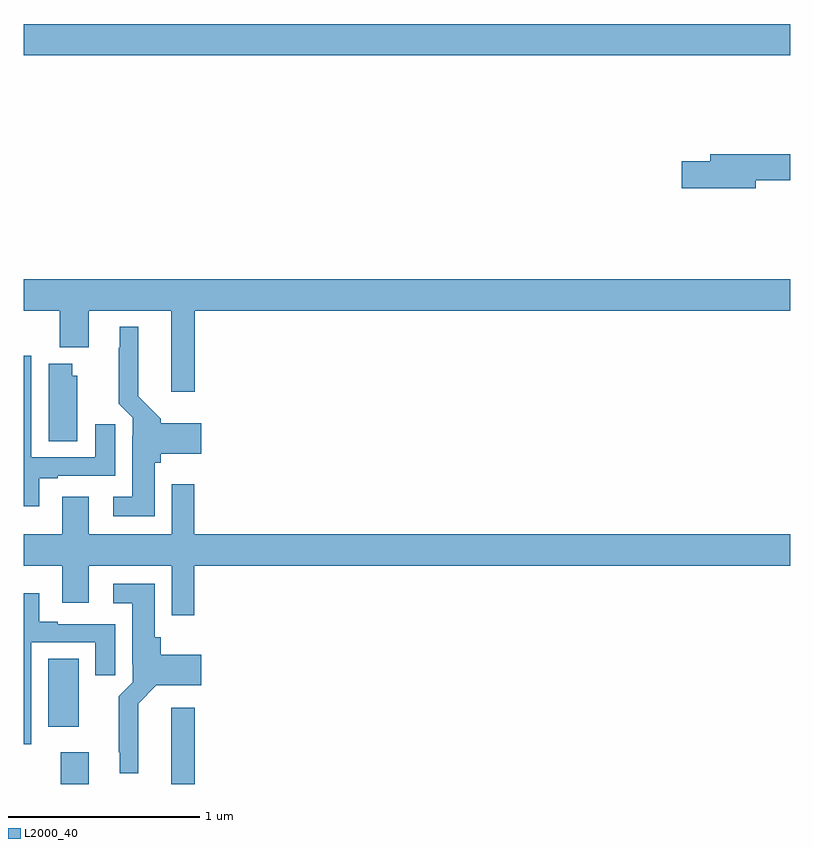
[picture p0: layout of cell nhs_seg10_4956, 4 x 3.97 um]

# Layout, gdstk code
import gdstk
lib = gdstk.Library(unit=1e-6, precision=1e-09)
def R(c, l, rs):  # rectangles x0, y0, x1, y1
    for r in rs: c.add(gdstk.rectangle(r[:2], r[2:], *l))
def P(c, l, *ps):  # polygons
    for p in ps: c.add(gdstk.Polygon(p, *l))
L2000_40 = (2000, 40)

nhs_seg10_4956 = lib.new_cell('nhs_seg10_4956')
R(nhs_seg10_4956, L2000_40, [(397.192,1308.5,397.339,1308.667), (397.769,1308.5,397.892,1308.898), (397.127,1308.798,397.285,1309.154), (397,1312.304,401,1312.468)])
P(nhs_seg10_4956, L2000_40, [(400.822,1311.652),(401,1311.652),(401,1311.788),(400.583,1311.788),(400.583,1311.752),(400.434,1311.752),(400.434,1311.61),(400.822,1311.61)],
  [(397.892,1310.972),(401,1310.972),(401,1311.136),(397,1311.136),(397,1310.972),(397.187,1310.972),(397.187,1310.78),(397.339,1310.78),(397.339,1310.972),(397.769,1310.972),(397.769,1310.547),(397.892,1310.547)],
  [(397.684,1310.178),(397.715,1310.178),(397.715,1310.225),(397.927,1310.225),(397.927,1310.383),(397.715,1310.383),(397.715,1310.406),(397.597,1310.524),(397.597,1310.887),(397.499,1310.887),(397.499,1310.777),(397.495,1310.777),(397.495,1310.486),(397.569,1310.412),(397.569,1310.318),(397.565,1310.318),(397.565,1309.999),(397.467,1309.999),(397.467,1309.898),(397.684,1309.898)],
  [(397.081,1310.097),(397.177,1310.097),(397.177,1310.109),(397.477,1310.109),(397.477,1310.377),(397.373,1310.377),(397.373,1310.205),(397.039,1310.205),(397.039,1310.737),(397,1310.737),(397,1309.95),(397.081,1309.95)],
  [(397.279,1310.631),(397.252,1310.631),(397.252,1310.695),(397.13,1310.695),(397.13,1310.29),(397.279,1310.29)],
  [(397.773,1310.065),(397.773,1309.804),(397.339,1309.804),(397.339,1309.999),(397.199,1309.999),(397.199,1309.804),(397,1309.804),(397,1309.64),(397.199,1309.64),(397.199,1309.446),(397.339,1309.446),(397.339,1309.64),(397.773,1309.64),(397.773,1309.38),(397.889,1309.38),(397.889,1309.64),(401,1309.64),(401,1309.804),(397.889,1309.804),(397.889,1310.065)],
  [(397.597,1308.92),(397.692,1309.016),(397.927,1309.016),(397.927,1309.174),(397.715,1309.174),(397.715,1309.266),(397.684,1309.266),(397.684,1309.546),(397.467,1309.546),(397.467,1309.445),(397.565,1309.445),(397.565,1309.126),(397.569,1309.126),(397.569,1309.032),(397.496,1308.959),(397.496,1308.667),(397.499,1308.667),(397.499,1308.557),(397.597,1308.557)],
  [(397.039,1309.239),(397.373,1309.239),(397.373,1309.068),(397.477,1309.068),(397.477,1309.335),(397.177,1309.335),(397.177,1309.348),(397.081,1309.348),(397.081,1309.495),(397,1309.495),(397,1308.708),(397.039,1308.708)])

lib.write_gds('nhs_seg10_4956.gds')
